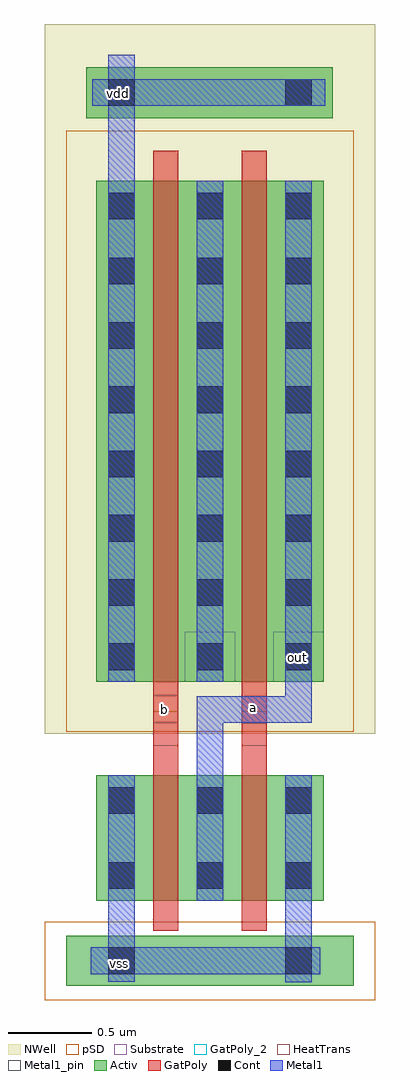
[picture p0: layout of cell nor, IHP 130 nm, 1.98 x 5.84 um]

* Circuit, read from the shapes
.subckt nor a b out vdd vss
XM1 out b vss vss sg13_lv_nmos w=0.75u l=0.15u
XM2 vss a out vss sg13_lv_nmos w=0.75u l=0.15u
XM3 n1 b vdd vdd sg13_lv_pmos w=3u l=0.15u
XM4 out a n1 vdd sg13_lv_pmos w=3u l=0.15u
.ends

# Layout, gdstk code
import gdstk
lib = gdstk.Library(unit=1e-6, precision=5e-09)
def R(c, l, rs):  # rectangles x0, y0, x1, y1
    for r in rs: c.add(gdstk.rectangle(r[:2], r[2:], *l))
def A(c, l, x, y, w, h, nx, ny, dx, dy):  # array of equal rectangles
    R(c, l, [(x+i*dx, y+j*dy, x+i*dx+w, y+j*dy+h) for i in range(nx) for j in range(ny)])
Activ = (1, 0)
GatPoly = (5, 0)
GatPoly_2 = (5, 2)
Cont = (6, 0)
Metal1 = (8, 0)
Metal1_pin = (8, 2)
pSD = (14, 0)
NWell = (31, 0)
Substrate = (40, 0)
HeatTrans = (51, 0)

nmos = lib.new_cell('nmos')
R(nmos, Activ, [(0,0,0.3,0.3), (0,0,0.83,0.75), (0.53,0,0.83,0.3)])
R(nmos, GatPoly, [(0.34,-0.18,0.49,0.93)])
R(nmos, GatPoly_2, [(0.34,-0.18,0.49,0.93)])
R(nmos, Cont, [(0.07,0.07,0.23,0.23), (0.6,0.07,0.76,0.23), (0.07,0.52,0.23,0.68), (0.6,0.52,0.76,0.68)])
R(nmos, Metal1, [(0.07,0,0.23,0.75), (0.6,0,0.76,0.75)])
R(nmos, Metal1_pin, [(0.07,0,0.23,0.75), (0.6,0,0.76,0.75)])
R(nmos, HeatTrans, [(0.34,-0.18,0.49,0.93)])
nmos.add(gdstk.Label('nmos', (0.415,0.375), layer=63, texttype=0))
nmos.add(gdstk.Label('nmos', (0.415,0.375), layer=51, texttype=0))

pmos_1 = lib.new_cell('pmos$1')
R(pmos_1, Activ, [(0,0,0.3,0.3), (0,0,0.83,3), (0.53,0,0.83,0.3)])
R(pmos_1, GatPoly, [(0.34,-0.18,0.49,3.18), (0.34,-0.18,0.49,3.18)])
A(pmos_1, Cont, 0.07, 0.07, 0.16, 0.16, 1, 7, 0, 0.385)
A(pmos_1, Cont, 0.6, 0.07, 0.16, 0.16, 1, 7, 0, 0.385)
R(pmos_1, Cont, [(0.07,2.77,0.23,2.93), (0.6,2.77,0.76,2.93)])
R(pmos_1, Metal1, [(0.07,0,0.23,3), (0.07,0,0.23,3), (0.6,0,0.76,3), (0.6,0,0.76,3)])
R(pmos_1, pSD, [(-0.18,-0.3,1.01,3.3)])
R(pmos_1, NWell, [(-0.31,-0.31,1.14,3.31)])
R(pmos_1, Substrate, [(0.53,0,0.83,0.3)])
R(pmos_1, HeatTrans, [(0.34,-0.18,0.49,3.18)])
pmos_1.add(gdstk.Label('pmos', (0.415,1.5), layer=63, texttype=0))
pmos_1.add(gdstk.Label('pmos', (0.415,1.5), layer=51, texttype=0))

nor = lib.new_cell('nor')
R(nor, Activ, [(-2.805,-1.375,-1.085,-1.075), (-2.685,3.82,-1.21,4.125)])
R(nor, GatPoly, [(-1.755,-0.625,-1.605,0.285), (-2.285,-0.62,-2.135,0.285)])
R(nor, GatPoly_2, [(-1.755,0.195,-1.605,0.36), (-2.285,0.2,-2.135,0.365)])
R(nor, Cont, [(-2.555,-1.305,-2.395,-1.145), (-1.495,-1.305,-1.335,-1.145), (-2.555,3.895,-2.395,4.055), (-1.495,3.895,-1.335,4.055)])
R(nor, Metal1, [(-1.495,-1.355,-1.335,-1.225), (-2.555,-1.35,-2.395,-1.23), (-2.66,-1.305,-2.555,-1.145), (-1.415,-1.305,-1.285,-1.145), (-2.555,3.215,-2.395,4.2), (-2.65,3.895,-1.255,4.055)])
R(nor, Metal1_pin, [(-2.555,-1.305,-2.395,-1.145), (-1.495,-1.305,-1.335,-1.145), (-1.495,0.515,-1.335,0.675), (-2.555,3.895,-2.395,4.055), (-1.495,3.895,-1.335,4.055)])
R(nor, pSD, [(-2.935,-1.46,-0.955,-0.99)])
R(nor, NWell, [(-2.935,3.755,-0.955,4.385)])
nor.add(gdstk.FlexPath([(-2.475,-0.715),(-2.475,-1.225),(-1.415,-1.225),(-1.415,-0.72)], 0.16, ends="flush", simple_path=True, layer=8, datatype=0))  # Metal1
nor.add(gdstk.FlexPath([(-1.945,-0.265),(-1.945,0.28),(-1.415,0.28),(-1.415,0.595),(-1.415,0.595)], 0.16, ends="flush", simple_path=True, layer=8, datatype=0))  # Metal1
nor.add(gdstk.Reference(nmos, (-2.095,-0.865)))
nor.add(gdstk.Reference(nmos, (-2.625,-0.865)))
nor.add(gdstk.Reference(pmos_1, (-2.625,0.445)))
nor.add(gdstk.Reference(pmos_1, (-2.095,0.445)))
nor.add(gdstk.Label('vss', (-2.485,-1.24), layer=8, texttype=2))
nor.add(gdstk.Label('vdd', (-2.49,3.97), layer=8, texttype=2))
nor.add(gdstk.Label('out', (-1.42,0.59), layer=8, texttype=2))
nor.add(gdstk.Label('a', (-1.685,0.29), layer=5, texttype=2))
nor.add(gdstk.Label('b', (-2.22,0.28), layer=5, texttype=2))

lib.write_gds('nor.gds')
